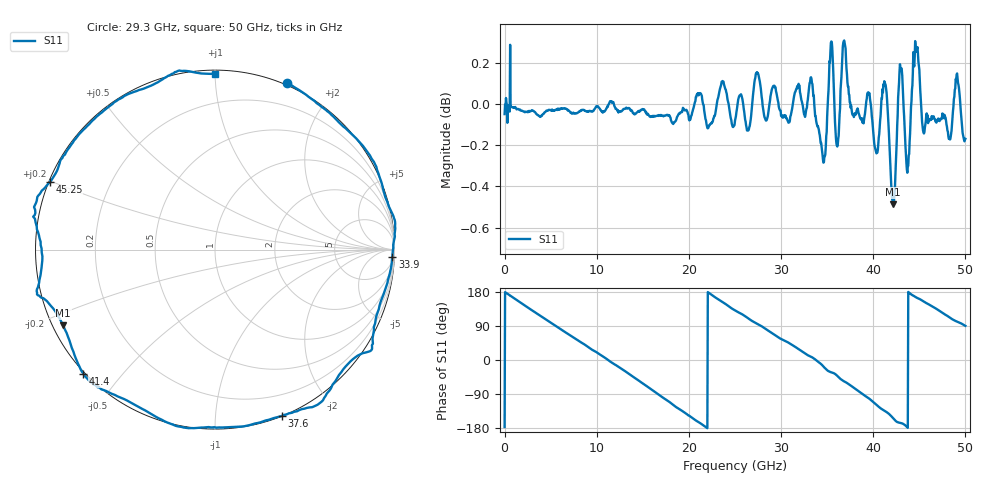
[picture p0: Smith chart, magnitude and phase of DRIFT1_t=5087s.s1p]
!Created with skrf (http://scikit-rf.org).
# Hz S RI R 50.0
!freq ReS11 ImS11
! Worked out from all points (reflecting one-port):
!   1001 points, 300 kHz to 50 GHz, reference 50 ohm
!   lowest |S11| = -0.5 dB at 42.15 GHz (marker M1), VSWR 35.66, Z = 1.48 - j11.8 ohm
!   phase of S11 starts at -177 deg and turns -813 deg over the sweep
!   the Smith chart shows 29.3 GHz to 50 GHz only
!   S11 on the Smith chart (normalised r, x): 29.3 GHz: -0.02, +1.52; 33.9 GHz: 13, -46; 37.6 GHz: 0.00, -1.48; 41.4 GHz: -0.00, -0.40; 45.25 GHz: 0.00, +0.20; 50 GHz: 0.02, +1.00
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300000  -0.9928 -0.0569
1.60029e9  -0.8928 0.4435
3.35028e9  -0.5705 0.8154
6.250262e9  0.199 0.9774
9.500243e9  0.888 0.4514
1.115023e10  0.9985 0.0236
1.250022e10  0.9342 -0.3449
1.420021e10  0.6615 -0.7426
1.580021e10  0.2474 -0.9616
1.73502e10  -0.2045 -0.9724
1.875019e10  -0.5906 -0.7984
2.160017e10  -0.9918 -0.1236
2.350016e10  -0.9211 0.4167
2.500015e10  -0.647 0.7504
2.730014e10  -0.1262 1.01
2.930012e10  0.4015 0.927
3.125011e10  0.7763 0.6291
3.39001e10  0.9877 -0.04
3.520009e10  0.8783 -0.5084
3.750008e10  0.3985 -0.9183
3.760007e10  0.3712 -0.9276
3.950006e10  -0.1876 -0.9878
4.140005e10  -0.734 -0.6918
4.215005e10  -0.8463 -0.4215
4.375004e10  -0.9655 -0.0152
4.525003e10  -0.9209 0.3762
4.770001e10  -0.5146 0.8482
5e10  -0.000234 0.9807
